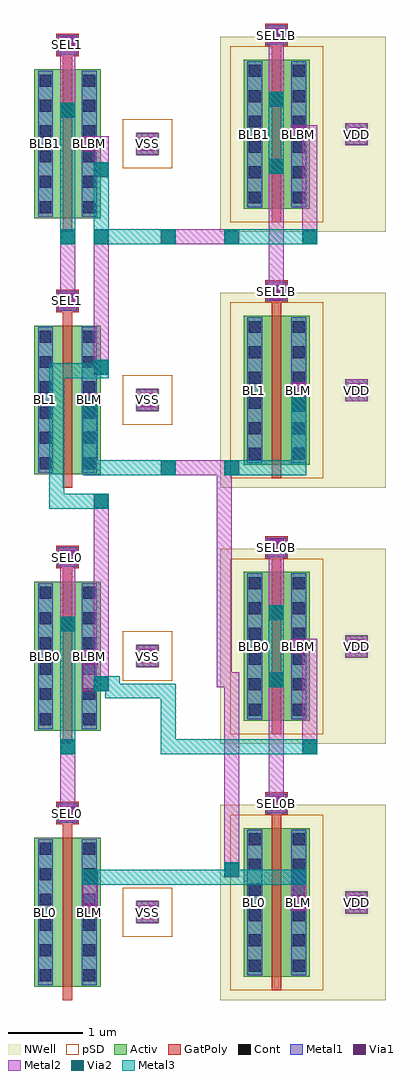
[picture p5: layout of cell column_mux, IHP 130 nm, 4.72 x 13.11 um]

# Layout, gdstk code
import gdstk
lib = gdstk.Library(unit=1e-6, precision=1e-09)
def R(c, l, rs):  # rectangles x0, y0, x1, y1
    for r in rs: c.add(gdstk.rectangle(r[:2], r[2:], *l))
def A(c, l, x, y, w, h, nx, ny, dx, dy):  # array of equal rectangles
    R(c, l, [(x+i*dx, y+j*dy, x+i*dx+w, y+j*dy+h) for i in range(nx) for j in range(ny)])
Activ = (1, 0)
GatPoly = (5, 0)
Cont = (6, 0)
Metal1 = (8, 0)
Metal2 = (10, 0)
pSD = (14, 0)
Via1 = (19, 0)
Via2 = (29, 0)
Metal3 = (30, 0)
NWell = (31, 0)

sg13_lv_nmos_w2_l0p13 = lib.new_cell('sg13_lv_nmos_w2_l0p13')
R(sg13_lv_nmos_w2_l0p13, Activ, [(0,0,0.89,2), (1.37,0.85,1.67,1.15)])
R(sg13_lv_nmos_w2_l0p13, GatPoly, [(0.38,-0.18,0.51,2.2), (0.295,2.18,0.595,2.48)])
A(sg13_lv_nmos_w2_l0p13, Cont, 0.07, 0.07, 0.16, 0.16, 1, 6, 0, 0.34)
A(sg13_lv_nmos_w2_l0p13, Cont, 0.66, 0.07, 0.16, 0.16, 1, 6, 0, 0.34)
R(sg13_lv_nmos_w2_l0p13, Cont, [(1.44,0.92,1.6,1.08), (0.365,2.25,0.525,2.41)])
R(sg13_lv_nmos_w2_l0p13, Metal1, [(0.05,0.02,0.25,1.98), (0.64,0.02,0.84,1.98), (1.375,0.855,1.665,1.145), (0.315,2.2,0.575,2.46)])
R(sg13_lv_nmos_w2_l0p13, Metal2, [(1.375,0.855,1.665,1.145)])
R(sg13_lv_nmos_w2_l0p13, pSD, [(1.19,0.67,1.85,1.33)])
R(sg13_lv_nmos_w2_l0p13, Via1, [(1.425,0.905,1.615,1.095)])

sg13_lv_pmos_w2_l0p13 = lib.new_cell('sg13_lv_pmos_w2_l0p13')
R(sg13_lv_pmos_w2_l0p13, Activ, [(0,0,0.89,2), (1.37,0.85,1.67,1.15)])
R(sg13_lv_pmos_w2_l0p13, GatPoly, [(0.38,-0.18,0.51,2.2), (0.295,2.18,0.595,2.48)])
A(sg13_lv_pmos_w2_l0p13, Cont, 0.07, 0.07, 0.16, 0.16, 1, 6, 0, 0.34)
A(sg13_lv_pmos_w2_l0p13, Cont, 0.66, 0.07, 0.16, 0.16, 1, 6, 0, 0.34)
R(sg13_lv_pmos_w2_l0p13, Cont, [(1.44,0.92,1.6,1.08), (0.365,2.25,0.525,2.41)])
R(sg13_lv_pmos_w2_l0p13, Metal1, [(0.05,0.02,0.25,1.98), (0.64,0.02,0.84,1.98), (1.375,0.855,1.665,1.145), (0.315,2.2,0.575,2.46)])
R(sg13_lv_pmos_w2_l0p13, Metal2, [(1.375,0.855,1.665,1.145)])
R(sg13_lv_pmos_w2_l0p13, pSD, [(-0.18,-0.18,1.07,2.18)])
R(sg13_lv_pmos_w2_l0p13, Via1, [(1.425,0.905,1.615,1.095)])
R(sg13_lv_pmos_w2_l0p13, NWell, [(-0.31,-0.31,1.91,2.31)])

column_mux = lib.new_cell('column_mux')
A(column_mux, Metal1, 3.445, 1.195, 0.21, 0.21, 1, 4, 0, 3.45)
A(column_mux, Metal1, 0.345, 2.395, 0.21, 0.21, 1, 4, 0, 3.45)
A(column_mux, Metal1, 0.645, 4.495, 0.21, 0.21, 1, 3, 0, 3.45)
R(column_mux, Metal1, [(0.645,1.095,0.855,1.305), (3.145,2.545,3.355,2.755), (3.145,5.995,3.355,6.205), (3.145,9.395,3.355,9.605), (3.145,12.845,3.355,13.055)])
A(column_mux, Metal2, 3.15, 4.2, 0.2, 0.2, 1, 3, 0, 0.9)
R(column_mux, Metal2, [(0.65,1.1,0.85,1.3), (0.65,1.1,0.85,1.75), (3.45,1.2,3.65,1.4), (3.45,1.2,3.65,1.75), (0.65,1.55,0.85,1.75), (3.45,1.55,3.65,1.75), (2.55,1.65,2.75,1.85), (2.55,1.65,2.75,4.4), (0.35,2.4,0.55,2.6), (0.35,2.4,0.55,3.5), (3.15,2.55,3.35,2.75), (3.15,2.55,3.35,4.4), (0.35,3.3,0.55,3.5), (3.6,3.3,3.8,3.5), (3.6,3.3,3.8,4.85), (0.65,4.15,0.85,4.7), (0.65,4.15,1,4.35), (0.8,4.15,1,4.35), (0.8,4.15,1,6.8), (2.45,4.2,2.75,4.4), (2.45,4.2,2.65,7.25), (0.65,4.5,0.85,4.7), (3.45,4.65,3.65,4.85), (3.45,4.65,3.8,4.85), (0.35,4.95,0.55,5.15), (0.35,4.95,0.55,6.05), (3.15,5.1,3.35,6.2), (0.35,5.85,0.55,6.05), (0.8,6.6,1,6.8), (1.7,7.05,1.9,7.25), (1.7,7.05,2.65,7.25), (2.45,7.05,2.75,7.25), (2.55,7.05,2.75,7.25), (0.65,7.9,0.85,8.1), (0.65,7.9,0.85,8.15), (3.45,7.9,3.65,8.1), (3.45,7.9,3.65,8.3), (0.65,7.95,0.85,8.15), (3.45,8.1,3.65,8.3), (0.8,8.4,1,8.6), (0.8,8.4,1,10.35), (0.35,9.3,0.55,9.5), (0.35,9.3,0.55,10.35), (3.15,9.4,3.35,9.6), (3.15,9.4,3.35,11.3), (0.35,10.15,0.55,10.35), (0.8,10.15,1,10.35), (1.7,10.15,1.9,10.35), (1.7,10.15,2.75,10.35), (2.55,10.15,2.75,10.35), (3.6,10.15,3.8,10.35), (3.6,10.15,3.8,11.75), (0.8,11.05,1,11.25), (0.8,11.05,1,11.6), (3.15,11.1,3.35,11.3), (0.65,11.4,0.85,11.6), (0.65,11.4,1,11.6), (3.45,11.55,3.65,11.75), (3.45,11.55,3.8,11.75), (0.35,11.85,0.55,12.05), (0.35,11.85,0.55,12.95), (3.15,12,3.35,12.2), (3.15,12,3.35,13.05), (0.35,12.75,0.55,12.95), (3.15,12.85,3.35,13.05)])
A(column_mux, Via1, 3.455, 1.205, 0.19, 0.19, 1, 4, 0, 3.45)
A(column_mux, Via1, 0.355, 2.405, 0.19, 0.19, 1, 4, 0, 3.45)
A(column_mux, Via1, 0.655, 4.505, 0.19, 0.19, 1, 3, 0, 3.45)
R(column_mux, Via1, [(0.655,1.105,0.845,1.295), (3.155,2.555,3.345,2.745), (3.155,6.005,3.345,6.195), (3.155,9.405,3.345,9.595), (3.155,12.855,3.345,13.045)])
R(column_mux, Via2, [(0.655,1.555,0.845,1.745), (3.455,1.555,3.645,1.745), (2.555,1.655,2.745,1.845), (0.355,3.305,0.545,3.495), (3.605,3.305,3.795,3.495), (0.805,4.155,0.995,4.345), (3.155,4.205,3.345,4.395), (0.355,4.955,0.545,5.145), (3.155,5.105,3.345,5.295), (0.805,6.605,0.995,6.795), (1.705,7.055,1.895,7.245), (2.555,7.055,2.745,7.245), (0.655,7.905,0.845,8.095), (3.455,7.905,3.645,8.095), (0.805,8.405,0.995,8.595), (0.355,10.155,0.545,10.345), (0.805,10.155,0.995,10.345), (1.705,10.155,1.895,10.345), (2.555,10.155,2.745,10.345), (3.605,10.155,3.795,10.345), (0.805,11.055,0.995,11.245), (3.155,11.105,3.345,11.295), (0.355,11.855,0.545,12.045), (3.155,12.005,3.345,12.195)])
R(column_mux, Metal3, [(0.65,1.55,0.85,1.75), (0.65,1.55,3.65,1.75), (2.55,1.55,2.75,1.85), (3.45,1.55,3.65,1.75), (2.55,1.65,2.75,1.85), (0.35,3.3,0.55,3.5), (0.35,3.3,0.55,5.15), (1.7,3.3,1.9,4.25), (1.7,3.3,3.8,3.5), (3.6,3.3,3.8,3.5), (0.95,4.05,1.15,4.35), (0.95,4.05,1.9,4.25), (0.8,4.15,1,4.35), (0.8,4.15,1.15,4.35), (3.15,4.2,3.35,4.4), (3.15,4.2,3.35,5.3), (0.35,4.95,0.55,5.15), (3.15,5.1,3.35,5.3), (0.2,6.6,1,6.8), (0.2,6.6,0.4,8.55), (0.8,6.6,1,6.8), (0.65,7.05,1.9,7.25), (0.65,7.05,0.85,8.1), (1.7,7.05,1.9,7.25), (2.55,7.05,2.75,7.25), (2.55,7.05,3.65,7.25), (3.45,7.05,3.65,8.1), (0.65,7.9,0.85,8.1), (3.45,7.9,3.65,8.1), (0.2,8.35,1,8.55), (0.8,8.35,1,8.6), (0.8,8.4,1,8.6), (0.35,10.15,0.55,10.35), (0.35,10.15,0.55,12.05), (0.8,10.15,1,10.35), (0.8,10.15,1,11.25), (0.8,10.15,1.9,10.35), (1.7,10.15,1.9,10.35), (2.55,10.15,2.75,10.35), (2.55,10.15,3.8,10.35), (3.6,10.15,3.8,10.35), (0.8,11.05,1,11.25), (3.15,11.1,3.35,11.3), (3.15,11.1,3.35,12.2), (0.35,11.85,0.55,12.05), (3.15,12,3.35,12.2)])
column_mux.add(gdstk.Reference(sg13_lv_nmos_w2_l0p13, (0,0.18)))
column_mux.add(gdstk.Reference(sg13_lv_pmos_w2_l0p13, (2.81,0.31)))
column_mux.add(gdstk.Reference(sg13_lv_nmos_w2_l0p13, (0,3.62)))
column_mux.add(gdstk.Reference(sg13_lv_pmos_w2_l0p13, (2.81,3.75)))
column_mux.add(gdstk.Reference(sg13_lv_nmos_w2_l0p13, (0,7.06)))
column_mux.add(gdstk.Reference(sg13_lv_pmos_w2_l0p13, (2.81,7.19)))
column_mux.add(gdstk.Reference(sg13_lv_nmos_w2_l0p13, (0,10.5)))
column_mux.add(gdstk.Reference(sg13_lv_pmos_w2_l0p13, (2.81,10.63)))
column_mux.add(gdstk.Label('BL0', (0.15,1.18), layer=8, texttype=25))
column_mux.add(gdstk.Label('SEL0', (0.445,2.51), layer=8, texttype=25))
column_mux.add(gdstk.Label('BLM', (0.74,1.18), layer=8, texttype=25))
column_mux.add(gdstk.Label('VSS', (1.52,1.18), layer=8, texttype=25))
column_mux.add(gdstk.Label('BL0', (2.96,1.31), layer=8, texttype=25))
column_mux.add(gdstk.Label('SEL0B', (3.255,2.64), layer=8, texttype=25))
column_mux.add(gdstk.Label('BLM', (3.55,1.31), layer=8, texttype=25))
column_mux.add(gdstk.Label('VDD', (4.33,1.31), layer=8, texttype=25))
column_mux.add(gdstk.Label('BLB0', (0.15,4.62), layer=8, texttype=25))
column_mux.add(gdstk.Label('SEL0', (0.445,5.95), layer=8, texttype=25))
column_mux.add(gdstk.Label('BLBM', (0.74,4.62), layer=8, texttype=25))
column_mux.add(gdstk.Label('VSS', (1.52,4.62), layer=8, texttype=25))
column_mux.add(gdstk.Label('BLB0', (2.96,4.75), layer=8, texttype=25))
column_mux.add(gdstk.Label('SEL0B', (3.255,6.08), layer=8, texttype=25))
column_mux.add(gdstk.Label('BLBM', (3.55,4.75), layer=8, texttype=25))
column_mux.add(gdstk.Label('VDD', (4.33,4.75), layer=8, texttype=25))
column_mux.add(gdstk.Label('BL1', (0.15,8.06), layer=8, texttype=25))
column_mux.add(gdstk.Label('SEL1', (0.445,9.39), layer=8, texttype=25))
column_mux.add(gdstk.Label('BLM', (0.74,8.06), layer=8, texttype=25))
column_mux.add(gdstk.Label('VSS', (1.52,8.06), layer=8, texttype=25))
column_mux.add(gdstk.Label('BL1', (2.96,8.19), layer=8, texttype=25))
column_mux.add(gdstk.Label('SEL1B', (3.255,9.52), layer=8, texttype=25))
column_mux.add(gdstk.Label('BLM', (3.55,8.19), layer=8, texttype=25))
column_mux.add(gdstk.Label('VDD', (4.33,8.19), layer=8, texttype=25))
column_mux.add(gdstk.Label('BLB1', (0.15,11.5), layer=8, texttype=25))
column_mux.add(gdstk.Label('SEL1', (0.445,12.83), layer=8, texttype=25))
column_mux.add(gdstk.Label('BLBM', (0.74,11.5), layer=8, texttype=25))
column_mux.add(gdstk.Label('VSS', (1.52,11.5), layer=8, texttype=25))
column_mux.add(gdstk.Label('BLB1', (2.96,11.63), layer=8, texttype=25))
column_mux.add(gdstk.Label('SEL1B', (3.255,12.96), layer=8, texttype=25))
column_mux.add(gdstk.Label('BLBM', (3.55,11.63), layer=8, texttype=25))
column_mux.add(gdstk.Label('VDD', (4.33,11.63), layer=8, texttype=25))

lib.write_gds('column_mux.gds')
